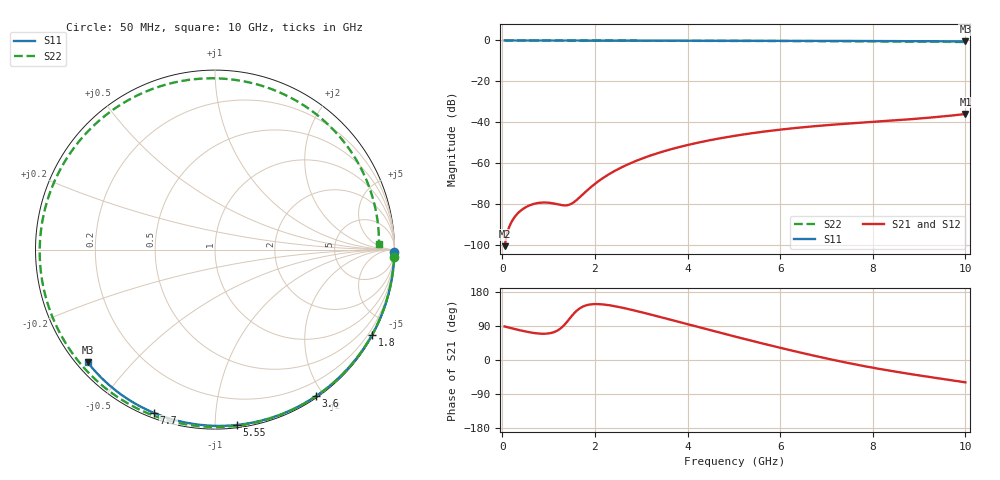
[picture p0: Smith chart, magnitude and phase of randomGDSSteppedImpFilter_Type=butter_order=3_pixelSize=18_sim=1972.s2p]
! freq	dB(S11)	phase(S11)	dB(S12)	phase(S12)
!  dB(S21)	phase(S21)	dB(S22)	phase(S22)
!S-par simulation data
#  GHz  S  DB  R 50
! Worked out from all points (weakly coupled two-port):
!   200 points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, 50 MHz to 10 GHz, reference 50 ohm
!   highest |S21| = -35.90 dB at 10 GHz (marker M1); lowest = -100.4 dB at 50 MHz (marker M2)
!   lowest |S11| = -0.5 dB at 10 GHz (marker M3), VSWR 36.96, Z = 1.55 - j18.9 ohm
!   |S11| at or under -10 dB: nowhere
!   |S22| runs from -0.8 to 0.0 dB; largest |S21 - S12| = 0
!   S11 on the Smith chart (normalised r, x): 50 MHz: open; 1.8 GHz: 0.03, -3.95; 3.6 GHz: 0.02, -1.90; 5.55 GHz: 0.02, -1.13; 7.7 GHz: 0.02, -0.69; 10 GHz: 0.03, -0.38
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0.05  -0.00 -0.8  -100.36 88.4  -100.36 88.4  -0.00 -2.4
0.65  -0.01 -10.4  -79.96 71.9  -79.96 71.9  -0.04 -31.0
0.9  -0.02 -14.3  -79.06 69.3  -79.06 69.3  -0.05 -42.6
1.45  -0.03 -23.0  -80.11 108.6  -80.11 108.6  -0.08 -66.9
1.75  -0.04 -27.7  -74.85 141.5  -74.85 141.5  -0.09 -79.4
1.8  -0.04 -28.4  -73.81 143.8  -73.81 143.8  -0.10 -81.4
2.1  -0.04 -33.1  -68.28 147.3  -68.28 147.3  -0.11 -93.2
2.45  -0.05 -38.4  -63.38 141.5  -63.38 141.5  -0.12 -106.3
2.9  -0.06 -45.2  -58.65 129.3  -58.65 129.3  -0.13 -122.2
3.4  -0.07 -52.6  -54.68 113.8  -54.68 113.8  -0.15 -138.8
3.6  -0.07 -55.5  -53.35 107.4  -53.35 107.4  -0.16 -145.2
4.3  -0.09 -65.6  -49.50 84.8  -49.50 84.8  -0.18 -166.7
5.05  -0.12 -76.0  -46.41 61.1  -46.41 61.1  -0.22 171.0
5.55  -0.14 -82.8  -44.76 45.7  -44.76 45.7  -0.25 156.2
6.1  -0.16 -90.1  -43.26 29.3  -43.26 29.3  -0.29 139.7
6.7  -0.19 -97.9  -41.92 12.2  -41.92 12.2  -0.33 121.1
7.2  -0.22 -104.2  -40.99 -1.1  -40.99 -1.1  -0.37 105.0
7.7  -0.25 -110.5  -40.19 -13.5  -40.19 -13.5  -0.41 88.1
8.35  -0.30 -118.5  -39.19 -27.9  -39.19 -27.9  -0.48 65.0
8.8  -0.34 -124.0  -38.45 -36.9  -38.45 -36.9  -0.54 48.3
9.25  -0.39 -129.5  -37.61 -45.3  -37.61 -45.3  -0.61 31.2
10  -0.47 -138.5  -35.90 -58.9  -35.90 -58.9  -0.78 2.0
